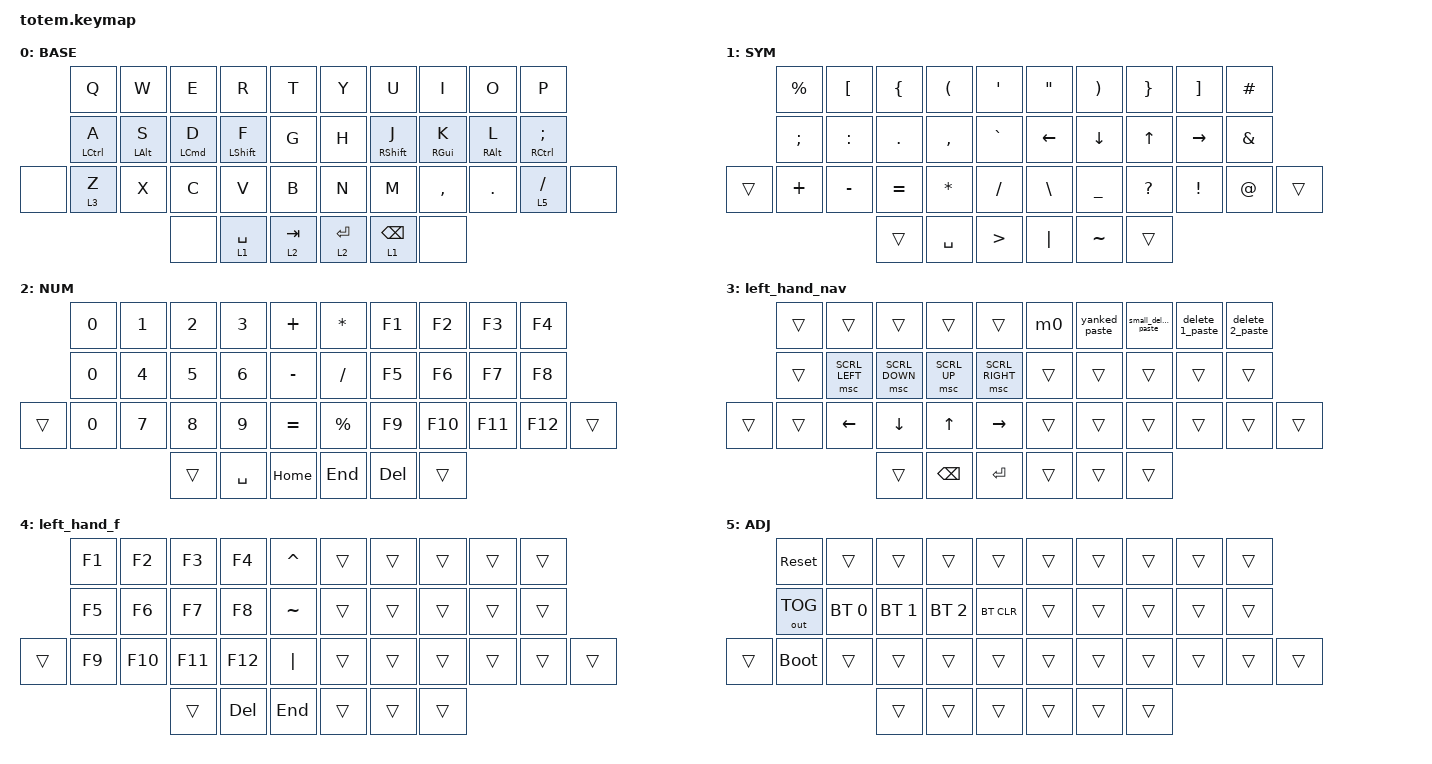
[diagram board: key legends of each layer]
//
//                                                        ▀▀▀▀▀     ▀▀▀▀▀          ▀▀█▀▀
//                                                        ▄▀▀▀▄  ▄  ▄▀▀▀▄  ▄  ▄▀▀▀▄  █  ▄▀▀▀▄
//                                                        █   █  █  █   █  █  █   █  █  █   █
//                                                         ▀▀▀   █   ▀▀▀   █   ▀▀▀   ▀   ▀▀▀
//                                                               █      ▄▄▄█▄▄▄    █   █  
//                                                               ▀      █  █  █     █▄█
//                                                             ▀▀▀▀▀    █  █  █      ▀
//                                                                      ▀  ▀  ▀
//
// ▄▄▄▄▄▄▄▄▄▄▄▄▄▄▄▄▄▄▄▄▄▄▄▄▄▄▄▄▄▄▄▄▄▄▄▄▄▄▄▄▄▄▄▄▄▄▄▄▄▄▄▄▄▄▄▄▄▄▄▄▄▄▄▄▄▄▄▄▄▄▄▄▄▄▄▄▄▄▄▄▄▄▄▄▄▄▄▄▄▄▄▄▄▄▄▄▄▄▄▄▄▄▄▄▄▄▄▄▄▄▄▄▄▄▄▄▄▄▄▄▄▄▄▄▄▄▄▄▄▄▄▄▄▄▄▄▄▄▄▄▄▄▄▄▄▄▄▄▄

#include <behaviors.dtsi>
#include <dt-bindings/zmk/bt.h>
#include <dt-bindings/zmk/keys.h>
#include <dt-bindings/zmk/outputs.h>
#include <dt-bindings/zmk/pointing.h>

#define BASE 0
#define NAV  1
#define SYM  2
#define ADJ  3
#define TVP1 4
#define TVP2 5

&mt {
    quick-tap-ms = <170>;
    flavor = "balanced";
    require-prior-idle-ms = <80>;
    tapping-term-ms = <170>;
};

&lt {
    quick-tap-ms = <170>;
    require-prior-idle-ms = <100>;
    flavor = "balanced";
    tapping-term-ms = <170>;
};

&sk { release-after-ms = <4000>; };

&sl { release-after-ms = <4000>; };

/ {
    combos {
        compatible = "zmk,combos";

        c0 {
            bindings = <&kp LCTRL>;
            key-positions = <10 19>;
            timeout-ms = <40>;
        };

        c1 {
            bindings = <&kp LEFT_ALT>;
            key-positions = <11 18>;
            timeout-ms = <40>;
        };

        c2 {
            bindings = <&kp LCMD>;
            key-positions = <12 17>;
            timeout-ms = <40>;
        };

        c3 {
            bindings = <&kp LSHIFT>;
            key-positions = <13 16>;
            timeout-ms = <40>;
        };

        c4 {
            bindings = <&kp PRINTSCREEN>;
            key-positions = <0 9>;
            timeout-ms = <40>;
        };

        c5 {
            bindings = <&kp ESCAPE>;
            key-positions = <3 2>;
            timeout-ms = <30>;
        };

        c6 {
            bindings = <&sk LSHIFT>;
            key-positions = <2 13>;
            timeout-ms = <30>;
        };

        c9 {
            bindings = <&kp CARET>;
            key-positions = <6 7>;
            timeout-ms = <30>;
        };

        c10 {
            bindings = <&kp DOLLAR>;
            key-positions = <7 8>;
            timeout-ms = <30>;
        };

        c11 {
            bindings = <&kp PAGE_UP>;
            key-positions = <3 4>;
            timeout-ms = <30>;
        };

        c12 {
            bindings = <&kp PAGE_DOWN>;
            key-positions = <3 14>;
            timeout-ms = <30>;
        };

        c13 {
            bindings = <&sk RSHIFT>;
            key-positions = <16 7>;
            timeout-ms = <30>;
        };

        c14 {
            bindings = <&sl 1>;
            key-positions = <27 28>;
            timeout-ms = <35>;
        };

        c15 {
            bindings = <&sl 2>;
            key-positions = <28 29>;
            timeout-ms = <35>;
        };

        c16 {
            bindings = <&sl 1>;
            key-positions = <23 24>;
            timeout-ms = <35>;
        };

        c17 {
            bindings = <&sl 2>;
            key-positions = <22 23>;
            timeout-ms = <35>;
        };

        c20 {
            bindings = <&kp CAPSLOCK>;
            key-positions = <1 2>;
            timeout-ms = <30>;
        };

        c24 {
            bindings = <&sl 4>;
            key-positions = <33 34>;
            timeout-ms = <60>;
        };

        c26 {
            bindings = <&kp LEFT_SHIFT>;
            key-positions = <35 36>;
            timeout-ms = <60>;
        };

        c27 {
            bindings = <&kp DOLLAR>;
            key-positions = <14 25>;
            timeout-ms = <40>;
            layers = <4>;
        };

        c28 {
            bindings = <&kp LESS_THAN>;
            key-positions = <33 24>;
            layers = <1>;
        };

        c29 {
            bindings = <&kp INSERT>;
            key-positions = <33 24>;
        };
    };

    macros {
        m0: m0 {
            compatible = "zmk,behavior-macro";
            #binding-cells = <0>;
            bindings = <&none &kp N5 &kp N7 &kp N3 &kp N8 &kp N6 &kp N0 &kp EXCL &kp LS(K) &kp O &kp L &kp DOLLAR>;
            label = "M0";
        };

        yanked_paste: yanked_paste {
            compatible = "zmk,behavior-macro";
            #binding-cells = <0>;
            bindings = <&kp DQT &kp N0 &kp P>;
            label = "YANKED_PASTE";
        };

        small_delete_paste: small_delete_paste {
            compatible = "zmk,behavior-macro";
            #binding-cells = <0>;
            bindings = <&kp DQT &kp MINUS &kp P>;
            label = "SMALL_DELETE_PASTE";
        };

        delete_1_paste: delete_1_paste {
            compatible = "zmk,behavior-macro";
            #binding-cells = <0>;
            bindings = <&kp DQT &kp N1 &kp P>;
            label = "DELETE_1_PASTE";
        };

        delete_2_paste: delete_2_paste {
            compatible = "zmk,behavior-macro";
            #binding-cells = <0>;
            bindings = <&kp DQT &kp N2 &kp P>;
            label = "DELETE_2_PASTE";
        };
    };

    keymap {
        compatible = "zmk,keymap";

        // ▄▄▄▄▄▄▄▄▄▄▄▄▄▄▄▄▄▄▄▄▄▄▄▄▄▄▄▄▄▄▄▄▄▄▄▄▄▄▄▄▄▄▄▄▄▄▄▄▄▄▄▄▄▄▄▄▄▄▄▄▄▄▄▄▄▄▄▄▄▄▄▄▄▄▄▄▄▄▄▄▄▄▄▄▄▄▄▄▄▄▄▄▄▄▄▄▄▄▄▄▄▄▄▄▄▄▄▄▄▄▄▄▄▄▄▄▄▄▄▄▄▄▄▄▄▄▄▄▄▄▄▄▄▄▄▄▄▄▄▄▄▄▄▄▄▄▄▄▄

        base_layer {
            // ┏━━━━━━━━━━━━━━━━━━━━━━━━━━━━━━━━━━━━━━━┓

            label = "BASE";

            // ┗━━━━━━━━━━━━━━━━━━━━━━━━━━━━━━━━━━━━━━━┛
            //             ┏━━━━━━━━━━━┳━━━━━━━━━━━┳━━━━━━━━━━━┳━━━━━━━━━━━┳━━━━━━━━━━━┓   ┏━━━━━━━━━━━┳━━━━━━━━━━━┳━━━━━━━━━━━┳━━━━━━━━━━━┳━━━━━━━━━━━┓
            //             ┃     Q     ┃     W     ┃     F     ┃     P     ┃     G     ┃   ┃     J     ┃     L     ┃     U     ┃     Y     ┃     ;     ┃
            //             ┣━━━━━━━━━━━╋━━━━━━━━━━━╋━━━━━━━━━━━╋━━━━━━━━━━━╋━━━━━━━━━━━┫   ┣━━━━━━━━━━━╋━━━━━━━━━━━╋━━━━━━━━━━━╋━━━━━━━━━━━╋━━━━━━━━━━━┫
            //             ┃     A     ┃     R     ┃     S     ┃     T     ┃     D     ┃   ┃     H     ┃     N     ┃     E     ┃     I     ┃     O     ┃
            // ┏━━━━━━━━━━━╋━━━━━━━━━━━╋━━━━━━━━━━━╋━━━━━━━━━━━╋━━━━━━━━━━━╋━━━━━━━━━━━┫   ┣━━━━━━━━━━━╋━━━━━━━━━━━╋━━━━━━━━━━━╋━━━━━━━━━━━╋━━━━━━━━━━━╋━━━━━━━━━━━┓
            // ┃     Q     ┃     Z     ┃     X     ┃     C     ┃     V     ┃     B     ┃   ┃     K     ┃     M     ┃     ,     ┃     .     ┃     /     ┃     \     ┃
            // ┗━━━━━━━━━━━┻━━━━━━━━━━━┻━━━━━━━━━━━╋━━━━━━━━━━━╋━━━━━━━━━━━╋━━━━━━━━━━━┫   ┣━━━━━━━━━━━╋━━━━━━━━━━━╋━━━━━━━━━━━╋━━━━━━━━━━━┻━━━━━━━━━━━┻━━━━━━━━━━━┛
            //                                     ┃    DEL    ┃    TAB    ┃    SPC    ┃   ┃   ENTER   ┃           ┃   BSPC    ┃
            //                                     ┗━━━━━━━━━━━┻━━━━━━━━━━━┻━━━━━━━━━━━┛   ┗━━━━━━━━━━━┻━━━━━━━━━━━┻━━━━━━━━━━━┛

            bindings = <
       &kp Q        &kp W       &kp E       &kp R        &kp T        &kp Y        &kp U            &kp I            &kp O       &kp P
       &mt LCTRL A  &mt LALT S  &mt LCMD D  &mt LSHFT F  &kp G        &kp H        &mt RSHFT J      &mt RIGHT_GUI K  &mt RALT L  &mt RCTRL SEMICOLON
&none  &lt 3 Z      &kp X       &kp C       &kp V        &kp B        &kp N        &kp M            &kp COMMA        &kp DOT     &lt 5 SLASH          &none
                                &none       &lt 1 SPACE  &lt 2 TAB    &lt 2 ENTER  &lt 1 BACKSPACE  &none
            >;
        };

        symbols {
            // ┏━━━━━━━━━━━━━━━━━━━━━━━━━━━━━━━━━━━━━━━┓

            label = "SYM";

            // ┗━━━━━━━━━━━━━━━━━━━━━━━━━━━━━━━━━━━━━━━┛
            //             ┏━━━━━━━━━━━┳━━━━━━━━━━━┳━━━━━━━━━━━┳━━━━━━━━━━━┳━━━━━━━━━━━┓   ┏━━━━━━━━━━━┳━━━━━━━━━━━┳━━━━━━━━━━━┳━━━━━━━━━━━┳━━━━━━━━━━━┓
            //             ┃           ┃           ┃     UP    ┃           ┃     {     ┃   ┃     }     ┃     7     ┃     8     ┃     9     ┃     +     ┃
            //             ┣━━━━━━━━━━━╋━━━━━━━━━━━╋━━━━━━━━━━━╋━━━━━━━━━━━╋━━━━━━━━━━━┫   ┣━━━━━━━━━━━╋━━━━━━━━━━━╋━━━━━━━━━━━╋━━━━━━━━━━━╋━━━━━━━━━━━┫
            //             ┃   SHIFT   ┃   LEFT    ┃    DOWN   ┃   RIGHT   ┃     [     ┃   ┃     ]     ┃     4     ┃     5     ┃     6     ┃     -     ┃
            // ┏━━━━━━━━━━━╋━━━━━━━━━━━╋━━━━━━━━━━━╋━━━━━━━━━━━╋━━━━━━━━━━━╋━━━━━━━━━━━┫   ┣━━━━━━━━━━━╋━━━━━━━━━━━╋━━━━━━━━━━━╋━━━━━━━━━━━╋━━━━━━━━━━━╋━━━━━━━━━━━┓
            // ┃           ┃           ┃   P UP    ┃  C LOCK   ┃  P DOWN   ┃     (     ┃   ┃     )     ┃     1     ┃     2     ┃     3     ┃     *     ┃           ┃
            // ┗━━━━━━━━━━━┻━━━━━━━━━━━┻━━━━━━━━━━━╋━━━━━━━━━━━╋━━━━━━━━━━━╋━━━━━━━━━━━┫   ┣━━━━━━━━━━━╋━━━━━━━━━━━╋━━━━━━━━━━━╋━━━━━━━━━━━┻━━━━━━━━━━━┻━━━━━━━━━━━┛
            //                                     ┃           ┃    TAB    ┃    SPC    ┃   ┃    DEL    ┃     0     ┃           ┃
            //                                     ┗━━━━━━━━━━━┻━━━━━━━━━━━┻━━━━━━━━━━━┛   ┗━━━━━━━━━━━┻━━━━━━━━━━━┻━━━━━━━━━━━┛

            bindings = <
        &kp PERCENT    &kp LEFT_BRACKET  &kp LEFT_BRACE  &kp LEFT_PARENTHESIS  &kp SQT             &kp DOUBLE_QUOTES  &kp RIGHT_PARENTHESIS  &kp RIGHT_BRACE  &kp RIGHT_BRACKET  &kp HASH
        &kp SEMICOLON  &kp COLON         &kp PERIOD      &kp COMMA             &kp GRAVE           &kp LEFT           &kp DOWN               &kp UP           &kp RIGHT          &kp AMPERSAND
&trans  &kp PLUS       &kp MINUS         &kp EQUAL       &kp ASTERISK          &kp SLASH           &kp BACKSLASH      &kp UNDERSCORE         &kp QUESTION     &kp EXCLAMATION    &kp AT_SIGN    &trans
                                         &trans          &kp SPACE             &kp GREATER_THAN    &kp PIPE           &kp TILDE              &trans
            >;
        };

        numbers {
            // ┏━━━━━━━━━━━━━━━━━━━━━━━━━━━━━━━━━━━━━━━┓

            label = "NUM";

            // ┗━━━━━━━━━━━━━━━━━━━━━━━━━━━━━━━━━━━━━━━┛
            //             ┏━━━━━━━━━━━┳━━━━━━━━━━━┳━━━━━━━━━━━┳━━━━━━━━━━━┳━━━━━━━━━━━┓   ┏━━━━━━━━━━━┳━━━━━━━━━━━┳━━━━━━━━━━━┳━━━━━━━━━━━┳━━━━━━━━━━━┓
            //             ┃     !     ┃     @     ┃     #     ┃     $     ┃     %     ┃   ┃     ˆ     ┃     &     ┃     Ü     ┃     '     ┃     "     ┃
            //             ┣━━━━━━━━━━━╋━━━━━━━━━━━╋━━━━━━━━━━━╋━━━━━━━━━━━╋━━━━━━━━━━━┫   ┣━━━━━━━━━━━╋━━━━━━━━━━━╋━━━━━━━━━━━╋━━━━━━━━━━━╋━━━━━━━━━━━┫
            //             ┃     Ä     ┃           ┃    SZ     ┃           ┃           ┃   ┃   MUTE    ┃   YEN     ┃   EURO    ┃  POUND    ┃     Ö     ┃
            // ┏━━━━━━━━━━━╋━━━━━━━━━━━╋━━━━━━━━━━━╋━━━━━━━━━━━╋━━━━━━━━━━━╋━━━━━━━━━━━┫   ┣━━━━━━━━━━━╋━━━━━━━━━━━╋━━━━━━━━━━━╋━━━━━━━━━━━╋━━━━━━━━━━━╋━━━━━━━━━━━┓
            // ┃           ┃  EMAIL1   ┃  EMAIL2   ┃           ┃           ┃           ┃   ┃   VOL-    ┃   VOL+    ┃   LAST    ┃   NEXT    ┃     \     ┃           ┃
            // ┗━━━━━━━━━━━┻━━━━━━━━━━━┻━━━━━━━━━━━╋━━━━━━━━━━━╋━━━━━━━━━━━╋━━━━━━━━━━━┫   ┣━━━━━━━━━━━╋━━━━━━━━━━━╋━━━━━━━━━━━╋━━━━━━━━━━━┻━━━━━━━━━━━┻━━━━━━━━━━━┛
            //                                     ┃           ┃    GIF    ┃    ADJ    ┃   ┃           ┃           ┃           ┃
            //                                     ┗━━━━━━━━━━━┻━━━━━━━━━━━┻━━━━━━━━━━━┛   ┗━━━━━━━━━━━┻━━━━━━━━━━━┻━━━━━━━━━━━┛

            bindings = <
        &kp N0  &kp NUMBER_1  &kp NUMBER_2  &kp NUMBER_3  &kp PLUS     &kp ASTERISK  &kp F1      &kp F2   &kp F3   &kp F4
        &kp N0  &kp NUMBER_4  &kp N5        &kp NUMBER_6  &kp MINUS    &kp SLASH     &kp F5      &kp F6   &kp F7   &kp F8
&trans  &kp N0  &kp N7        &kp N8        &kp N9        &kp EQUAL    &kp PERCENT   &kp F9      &kp F10  &kp F11  &kp F12  &trans
                              &trans        &kp SPACE     &kp HOME     &kp END       &kp DELETE  &trans
            >;
        };

        left_hand_nav {
            bindings = <
        &trans  &trans          &trans          &trans         &trans             &m0     &yanked_paste  &small_delete_paste  &delete_1_paste  &delete_2_paste
        &trans  &msc SCRL_LEFT  &msc SCRL_DOWN  &msc SCRL_UP   &msc SCRL_RIGHT    &trans  &trans         &trans               &trans           &trans
&trans  &trans  &kp LEFT        &kp DOWN        &kp UP         &kp RIGHT          &trans  &trans         &trans               &trans           &trans           &trans
                                &trans          &kp BACKSPACE  &kp ENTER          &trans  &trans         &trans
            >;
        };

        left_hand_f {
            bindings = <
        &kp F1  &kp F2   &kp F3   &kp F4      &kp CARET    &trans  &trans  &trans  &trans  &trans
        &kp F5  &kp F6   &kp F7   &kp F8      &kp TILDE    &trans  &trans  &trans  &trans  &trans
&trans  &kp F9  &kp F10  &kp F11  &kp F12     &kp PIPE     &trans  &trans  &trans  &trans  &trans  &trans
                         &trans   &kp DELETE  &kp END      &trans  &trans  &trans
            >;
        };

        adjust_layer {
            // ┏━━━━━━━━━━━━━━━━━━━━━━━━━━━━━━━━━━━━━━━┓

            label = "ADJ";

            // ┗━━━━━━━━━━━━━━━━━━━━━━━━━━━━━━━━━━━━━━━┛
            //             ┏━━━━━━━━━━━┳━━━━━━━━━━━┳━━━━━━━━━━━┳━━━━━━━━━━━┳━━━━━━━━━━━┓   ┏━━━━━━━━━━━┳━━━━━━━━━━━┳━━━━━━━━━━━┳━━━━━━━━━━━┳━━━━━━━━━━━┓
            //             ┃   RESET   ┃ BT CLEAR  ┃  OUT TOG  ┃           ┃           ┃   ┃           ┃    F7     ┃    F8     ┃    F9     ┃    F12    ┃
            //             ┣━━━━━━━━━━━╋━━━━━━━━━━━╋━━━━━━━━━━━╋━━━━━━━━━━━╋━━━━━━━━━━━┫   ┣━━━━━━━━━━━╋━━━━━━━━━━━╋━━━━━━━━━━━╋━━━━━━━━━━━╋━━━━━━━━━━━┫
            //             ┃ BOOTLOAD  ┃ BT NEXT   ┃           ┃           ┃           ┃   ┃           ┃    F4     ┃    F5     ┃    F6     ┃    F11    ┃
            // ┏━━━━━━━━━━━╋━━━━━━━━━━━╋━━━━━━━━━━━╋━━━━━━━━━━━╋━━━━━━━━━━━╋━━━━━━━━━━━┫   ┣━━━━━━━━━━━╋━━━━━━━━━━━╋━━━━━━━━━━━╋━━━━━━━━━━━╋━━━━━━━━━━━╋━━━━━━━━━━━┓
            // ┃           ┃           ┃ BT PREV   ┃           ┃           ┃           ┃   ┃           ┃    F1     ┃    F2     ┃    F3     ┃    F10    ┃           ┃
            // ┗━━━━━━━━━━━┻━━━━━━━━━━━┻━━━━━━━━━━━╋━━━━━━━━━━━╋━━━━━━━━━━━╋━━━━━━━━━━━┫   ┣━━━━━━━━━━━╋━━━━━━━━━━━╋━━━━━━━━━━━╋━━━━━━━━━━━┻━━━━━━━━━━━┻━━━━━━━━━━━┛
            //                                     ┃           ┃           ┃           ┃   ┃           ┃           ┃           ┃
            //                                     ┗━━━━━━━━━━━┻━━━━━━━━━━━┻━━━━━━━━━━━┛   ┗━━━━━━━━━━━┻━━━━━━━━━━━┻━━━━━━━━━━━┛

            bindings = <
        &sys_reset    &trans        &trans        &trans        &trans        &trans  &trans  &trans  &trans  &trans
        &out OUT_TOG  &bt BT_SEL 0  &bt BT_SEL 1  &bt BT_SEL 2  &bt BT_CLR    &trans  &trans  &trans  &trans  &trans
&trans  &bootloader   &trans        &trans        &trans        &trans        &trans  &trans  &trans  &trans  &trans  &trans
                                    &trans        &trans        &trans        &trans  &trans  &trans
            >;
        };

        // ▄▄▄▄▄▄▄▄▄▄▄▄▄▄▄▄▄▄▄▄▄▄▄▄▄▄▄▄▄▄▄▄▄▄▄▄▄▄▄▄▄▄▄▄▄▄▄▄▄▄▄▄▄▄▄▄▄▄▄▄▄▄▄▄▄▄▄▄▄▄▄▄▄▄▄▄▄▄▄▄▄▄▄▄▄▄▄▄▄▄▄▄▄▄▄▄▄▄▄▄▄▄▄▄▄▄▄▄▄▄▄▄▄▄▄▄▄▄▄▄▄▄▄▄▄▄▄▄▄▄▄▄▄▄▄▄▄▄▄▄▄▄▄▄▄▄▄▄▄
        // ▄▄▄▄▄▄▄▄▄▄▄▄▄▄▄▄▄▄▄▄▄▄▄▄▄▄▄▄▄▄▄▄▄▄▄▄▄▄▄▄▄▄▄▄▄▄▄▄▄▄▄▄▄▄▄▄▄▄▄▄▄▄▄▄▄▄▄▄▄▄▄▄▄▄▄▄▄▄▄▄▄▄▄▄▄▄▄▄▄▄▄▄▄▄▄▄▄▄▄▄▄▄▄▄▄▄▄▄▄▄▄▄▄▄▄▄▄▄▄▄▄▄▄▄▄▄▄▄▄▄▄▄▄▄▄▄▄▄▄▄▄▄▄▄▄▄▄▄▄
    };
};
